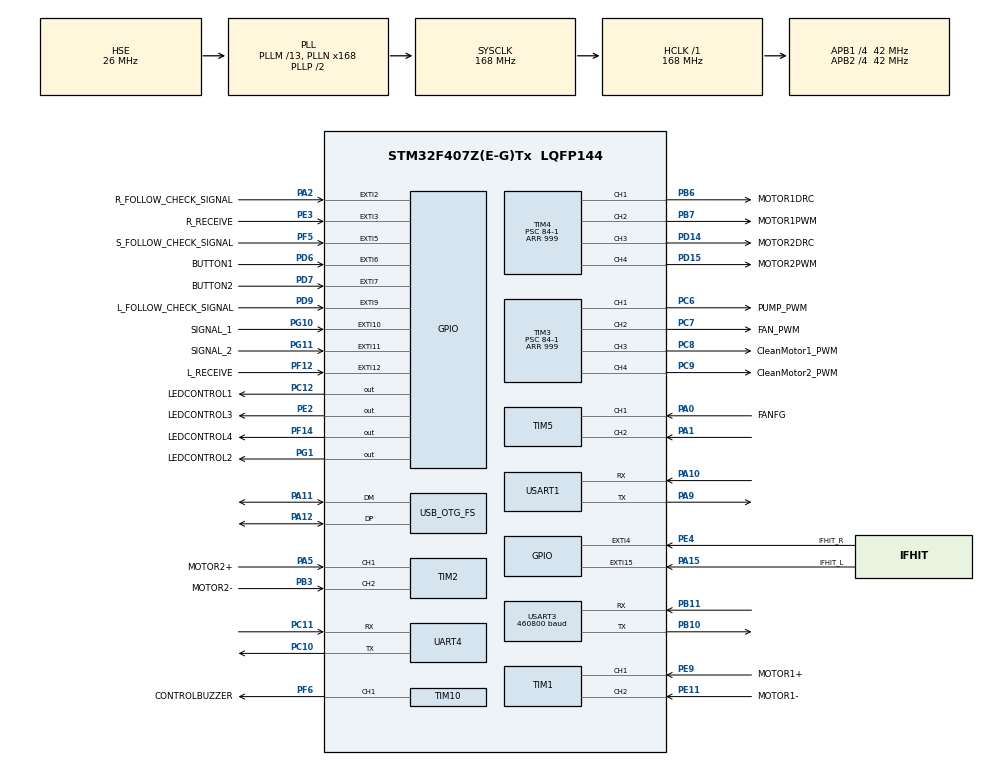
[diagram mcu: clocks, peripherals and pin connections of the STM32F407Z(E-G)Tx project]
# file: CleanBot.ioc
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Dma.Request0=USART3_RX
Dma.USART3_RX.0.Direction=DMA_PERIPH_TO_MEMORY
Dma.USART3_RX.0.FIFOMode=DMA_FIFOMODE_DISABLE
Dma.USART3_RX.0.Instance=DMA1_Stream1
Dma.USART3_RX.0.MemDataAlignment=DMA_MDATAALIGN_BYTE
Dma.USART3_RX.0.MemInc=DMA_MINC_ENABLE
Dma.USART3_RX.0.Mode=DMA_NORMAL
Dma.USART3_RX.0.PeriphDataAlignment=DMA_PDATAALIGN_BYTE
Dma.USART3_RX.0.PeriphInc=DMA_PINC_DISABLE
Dma.USART3_RX.0.Priority=DMA_PRIORITY_HIGH
FREERTOS.Tasks01=defaultTask,24,128,StartDefaultTask,Default,NULL,Dynamic,NULL,NULL
Mcu.Family=STM32F4
Mcu.Name=STM32F407Z(E-G)Tx
Mcu.Package=LQFP144
NVIC.DMA1_Stream1_IRQn=true\:5\:0\:false\:false\:true\:true\:false\:true\:true
NVIC.EXTI15_10_IRQn=true\:5\:0\:false\:false\:true\:true\:true\:true\:true
NVIC.EXTI2_IRQn=true\:5\:0\:false\:false\:true\:true\:true\:true\:true
NVIC.EXTI3_IRQn=true\:5\:0\:false\:false\:true\:true\:true\:true\:true
NVIC.EXTI4_IRQn=true\:5\:0\:false\:false\:true\:true\:true\:true\:true
NVIC.EXTI9_5_IRQn=true\:5\:0\:false\:false\:true\:true\:true\:true\:true
NVIC.OTG_FS_IRQn=true\:5\:0\:false\:false\:true\:true\:true\:true\:true
NVIC.PriorityGroup=NVIC_PRIORITYGROUP_4
NVIC.TIM6_DAC_IRQn=true\:15\:0\:false\:false\:true\:false\:false\:true\:true
NVIC.TIM7_IRQn=true\:5\:0\:false\:false\:true\:true\:true\:true\:true
NVIC.TimeBase=TIM6_DAC_IRQn
NVIC.TimeBaseIP=TIM6
NVIC.USART3_IRQn=true\:5\:0\:false\:false\:true\:true\:true\:true\:true
PA0-WKUP.GPIO_Label=FANFG
PA0-WKUP.Signal=S_TIM5_CH1
PA1.Signal=S_TIM5_CH2
PA10.Mode=Asynchronous
PA10.Signal=USART1_RX
PA11.GPIO_PuPd=GPIO_NOPULL
PA11.Mode=Device_Only
PA11.Signal=USB_OTG_FS_DM
PA12.GPIO_PuPd=GPIO_PULLUP
PA12.Mode=Device_Only
PA12.Signal=USB_OTG_FS_DP
PA13.Mode=Serial_Wire
PA13.Signal=SYS_JTMS-SWDIO
PA14.Mode=Serial_Wire
PA14.Signal=SYS_JTCK-SWCLK
PA15.GPIO_Label=IFHIT_L
PA15.GPIO_ModeDefaultEXTI=GPIO_MODE_IT_RISING_FALLING
PA15.Signal=GPXTI15
PA2.GPIO_Label=R_FOLLOW_CHECK_SIGNAL
PA2.GPIO_ModeDefaultEXTI=GPIO_MODE_IT_RISING_FALLING
PA2.Signal=GPXTI2
PA5.GPIO_Label=MOTOR2+
PA5.Signal=S_TIM2_CH1_ETR
PA9.Mode=Asynchronous
PA9.Signal=USART1_TX
PB10.Mode=Asynchronous
PB10.Signal=USART3_TX
PB11.Mode=Asynchronous
PB11.Signal=USART3_RX
PB3.GPIO_Label=MOTOR2-
PB3.Signal=S_TIM2_CH2
PB6.GPIO_Label=MOTOR1DRC
PB6.Signal=S_TIM4_CH1
PB7.GPIO_Label=MOTOR1PWM
PB7.Signal=S_TIM4_CH2
PC10.Mode=Asynchronous
PC10.Signal=UART4_TX
PC11.Mode=Asynchronous
PC11.Signal=UART4_RX
PC12.GPIO_Label=LEDCONTROL1
PC12.Signal=GPIO_Output
PC14-OSC32_IN.Mode=LSE-External-Oscillator
PC14-OSC32_IN.Signal=RCC_OSC32_IN
PC15-OSC32_OUT.Mode=LSE-External-Oscillator
PC15-OSC32_OUT.Signal=RCC_OSC32_OUT
PC6.GPIO_Label=PUMP_PWM
PC6.Signal=S_TIM3_CH1
PC7.GPIO_Label=FAN_PWM
PC7.Signal=S_TIM3_CH2
PC8.GPIO_Label=CleanMotor1_PWM
PC8.Signal=S_TIM3_CH3
PC9.GPIO_Label=CleanMotor2_PWM
PC9.Signal=S_TIM3_CH4
PD14.GPIO_Label=MOTOR2DRC
PD14.Signal=S_TIM4_CH3
PD15.GPIO_Label=MOTOR2PWM
PD15.Signal=S_TIM4_CH4
PD6.GPIO_Label=BUTTON1
PD6.GPIO_ModeDefaultEXTI=GPIO_MODE_IT_RISING_FALLING
PD6.Signal=GPXTI6
PD7.GPIO_Label=BUTTON2
PD7.GPIO_ModeDefaultEXTI=GPIO_MODE_IT_RISING_FALLING
PD7.Signal=GPXTI7
PD9.GPIO_Label=L_FOLLOW_CHECK_SIGNAL
PD9.GPIO_ModeDefaultEXTI=GPIO_MODE_IT_RISING_FALLING
PD9.Signal=GPXTI9
PE11.GPIO_Label=MOTOR1-
PE11.Signal=S_TIM1_CH2
PE2.GPIO_Label=LEDCONTROL3
PE2.Signal=GPIO_Output
PE3.GPIO_Label=R_RECEIVE
PE3.GPIO_ModeDefaultEXTI=GPIO_MODE_IT_RISING_FALLING
PE3.Signal=GPXTI3
PE4.GPIO_Label=IFHIT_R
PE4.GPIO_ModeDefaultEXTI=GPIO_MODE_IT_RISING_FALLING
PE4.Signal=GPXTI4
PE9.GPIO_Label=MOTOR1+
PE9.Signal=S_TIM1_CH1
PF12.GPIO_Label=L_RECEIVE
PF12.GPIO_ModeDefaultEXTI=GPIO_MODE_IT_RISING_FALLING
PF12.Signal=GPXTI12
PF14.GPIO_Label=LEDCONTROL4
PF14.Signal=GPIO_Output
PF5.GPIO_Label=S_FOLLOW_CHECK_SIGNAL
PF5.GPIO_ModeDefaultEXTI=GPIO_MODE_IT_RISING_FALLING
PF5.Signal=GPXTI5
PF6.GPIO_Label=CONTROLBUZZER
PF6.Signal=S_TIM10_CH1
PG1.GPIO_Label=LEDCONTROL2
PG1.Signal=GPIO_Output
PG10.GPIO_Label=SIGNAL_1
PG10.GPIO_ModeDefaultEXTI=GPIO_MODE_IT_RISING_FALLING
PG10.Signal=GPXTI10
PG11.GPIO_Label=SIGNAL_2
PG11.GPIO_ModeDefaultEXTI=GPIO_MODE_IT_RISING_FALLING
PG11.Signal=GPXTI11
PH0-OSC_IN.Mode=HSE-External-Oscillator
PH0-OSC_IN.Signal=RCC_OSC_IN
PH1-OSC_OUT.Mode=HSE-External-Oscillator
PH1-OSC_OUT.Signal=RCC_OSC_OUT
ProjectManager.HeapSize=0x400
ProjectManager.StackSize=0x400
ProjectManager.TargetToolchain=MDK-ARM V5.32
RCC.48MHZClocksFreq_Value=48000000
RCC.AHBFreq_Value=168000000
RCC.APB1CLKDivider=RCC_HCLK_DIV4
RCC.APB1Freq_Value=42000000
RCC.APB1TimFreq_Value=84000000
RCC.APB2CLKDivider=RCC_HCLK_DIV4
RCC.APB2Freq_Value=42000000
RCC.APB2TimFreq_Value=84000000
RCC.CortexFreq_Value=168000000
RCC.HCLKFreq_Value=168000000
RCC.HSE_VALUE=26000000
RCC.HSI_VALUE=16000000
RCC.PLLM=13
RCC.PLLN=168
RCC.PLLQ=7
RCC.SYSCLKFreq_VALUE=168000000
RCC.SYSCLKSource=RCC_SYSCLKSOURCE_PLLCLK
RCC.VCOOutputFreq_Value=336000000
SH.S_TIM10_CH1.0=TIM10_CH1,PWM Generation1 CH1
SH.S_TIM1_CH1.0=TIM1_CH1,Encoder_Interface
SH.S_TIM1_CH2.0=TIM1_CH2,Encoder_Interface
SH.S_TIM2_CH1_ETR.0=TIM2_CH1,Encoder_Interface
SH.S_TIM2_CH2.0=TIM2_CH2,Encoder_Interface
SH.S_TIM3_CH1.0=TIM3_CH1,PWM Generation1 CH1
SH.S_TIM3_CH2.0=TIM3_CH2,PWM Generation2 CH2
SH.S_TIM3_CH3.0=TIM3_CH3,PWM Generation3 CH3
SH.S_TIM3_CH4.0=TIM3_CH4,PWM Generation4 CH4
SH.S_TIM4_CH1.0=TIM4_CH1,PWM Generation1 CH1
SH.S_TIM4_CH2.0=TIM4_CH2,PWM Generation2 CH2
SH.S_TIM4_CH3.0=TIM4_CH3,PWM Generation3 CH3
SH.S_TIM4_CH4.0=TIM4_CH4,PWM Generation4 CH4
SH.S_TIM5_CH1.0=TIM5_CH1,Encoder_Interface
SH.S_TIM5_CH2.0=TIM5_CH2,Encoder_Interface
TIM1.EncoderMode=TIM_ENCODERMODE_TI12
TIM10.Channel=TIM_CHANNEL_1
TIM10.Period=999
TIM10.Prescaler=84-1
TIM2.EncoderMode=TIM_ENCODERMODE_TI12
TIM3.Channel-PWM\ Generation1\ CH1=TIM_CHANNEL_1
TIM3.Channel-PWM\ Generation2\ CH2=TIM_CHANNEL_2
TIM3.Channel-PWM\ Generation3\ CH3=TIM_CHANNEL_3
TIM3.Channel-PWM\ Generation4\ CH4=TIM_CHANNEL_4
TIM3.Period=999
TIM3.Prescaler=84-1
TIM4.Channel-PWM\ Generation1\ CH1=TIM_CHANNEL_1
TIM4.Channel-PWM\ Generation2\ CH2=TIM_CHANNEL_2
TIM4.Channel-PWM\ Generation3\ CH3=TIM_CHANNEL_3
TIM4.Channel-PWM\ Generation4\ CH4=TIM_CHANNEL_4
TIM4.Period=999
TIM4.Prescaler=84-1
TIM7.AutoReloadPreload=TIM_AUTORELOAD_PRELOAD_ENABLE
TIM7.Period=999
TIM7.Prescaler=84-1
UART4.VirtualMode=Asynchronous
USART1.VirtualMode=VM_ASYNC
USART3.BaudRate=460800
USART3.VirtualMode=VM_ASYNC
USART3.WordLength=WORDLENGTH_8B
USB_DEVICE.CLASS_NAME_FS=CDC
USB_DEVICE.VirtualMode-CDC_FS=Cdc
USB_DEVICE.VirtualModeFS=Cdc_FS
USB_OTG_FS.VirtualMode=Device_Only
VP_CRC_VS_CRC.Mode=CRC_Activate
VP_FREERTOS_VS_CMSIS_V2.Mode=CMSIS_V2
VP_SYS_VS_tim6.Mode=TIM6
VP_TIM10_VS_ClockSourceINT.Mode=Enable_Timer
VP_TIM3_VS_ClockSourceINT.Mode=Internal
VP_TIM4_VS_ClockSourceINT.Mode=Internal
VP_TIM7_VS_ClockSourceINT.Mode=Enable_Timer
VP_USB_DEVICE_VS_USB_DEVICE_CDC_FS.Mode=CDC_FS
board=custom

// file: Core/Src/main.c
/* USER CODE BEGIN Header */
/**
  ******************************************************************************
  * @file           : main.c
  * @brief          : Main program body
  ******************************************************************************
  * @attention
  *
  * Copyright (c) 2025 STMicroelectronics.
  * All rights reserved.
  *
  * This software is licensed under terms that can be found in the LICENSE file
  * in the root directory of this software component.
  * If no LICENSE file comes with this software, it is provided AS-IS.
  *
  ******************************************************************************
  */
/* USER CODE END Header */
#include "main.h"
#include "cmsis_os.h"
#include "crc.h"
#include "dma.h"
#include "tim.h"
#include "usart.h"
#include "usb_device.h"
#include "gpio.h"

/* USER CODE BEGIN Includes */
#include "CleanBotApp.h"
#include "encoder.h"

/* USER CODE END Includes */

void SystemClock_Config(void);
void MX_FREERTOS_Init(void);

int main(void)
{

  /* MCU Configuration--------------------------------------------------------*/

  /* Reset of all peripherals, Initializes the Flash interface and the Systick. */
  HAL_Init();

  /* Configure the system clock */
  SystemClock_Config();

  /* Initialize all configured peripherals */
  MX_GPIO_Init();
  MX_DMA_Init();
  MX_TIM1_Init();
  MX_TIM2_Init();
  MX_TIM3_Init();
  MX_TIM4_Init();
  MX_TIM5_Init();
  MX_TIM10_Init();
  MX_UART4_Init();
  MX_USART1_UART_Init();
  MX_USART3_UART_Init();
  MX_TIM7_Init();
  MX_CRC_Init();
  /* USER CODE BEGIN 2 */
  /* 启动TIM7，1kHz中断用于编码器速度采样 */
  HAL_TIM_Base_Start_IT(&htim7);

  /* USER CODE END 2 */

  /* Init scheduler */
  osKernelInitialize();

  /* Call init function for freertos objects (in cmsis_os2.c) */
  MX_FREERTOS_Init();

  /* Start scheduler */
  osKernelStart();

  /* We should never get here as control is now taken by the scheduler */

  /* Infinite loop */
  while (1)
  {

  }
}

void SystemClock_Config(void)
{
  RCC_OscInitTypeDef RCC_OscInitStruct = {0};
  RCC_ClkInitTypeDef RCC_ClkInitStruct = {0};

  /** Configure the main internal regulator output voltage
  */
  __HAL_RCC_PWR_CLK_ENABLE();
  __HAL_PWR_VOLTAGESCALING_CONFIG(PWR_REGULATOR_VOLTAGE_SCALE1);

  /** Initializes the RCC Oscillators according to the specified parameters
  * in the RCC_OscInitTypeDef structure.
  */
  RCC_OscInitStruct.OscillatorType = RCC_OSCILLATORTYPE_HSE;
  RCC_OscInitStruct.HSEState = RCC_HSE_ON;
  RCC_OscInitStruct.PLL.PLLState = RCC_PLL_ON;
  RCC_OscInitStruct.PLL.PLLSource = RCC_PLLSOURCE_HSE;
  RCC_OscInitStruct.PLL.PLLM = 13;
  RCC_OscInitStruct.PLL.PLLN = 168;
  RCC_OscInitStruct.PLL.PLLP = RCC_PLLP_DIV2;
  RCC_OscInitStruct.PLL.PLLQ = 7;
  if (HAL_RCC_OscConfig(&RCC_OscInitStruct) != HAL_OK)
  {
    Error_Handler();
  }

  /** Initializes the CPU, AHB and APB buses clocks
  */
  RCC_ClkInitStruct.ClockType = RCC_CLOCKTYPE_HCLK|RCC_CLOCKTYPE_SYSCLK
                              |RCC_CLOCKTYPE_PCLK1|RCC_CLOCKTYPE_PCLK2;
  RCC_ClkInitStruct.SYSCLKSource = RCC_SYSCLKSOURCE_PLLCLK;
  RCC_ClkInitStruct.AHBCLKDivider = RCC_SYSCLK_DIV1;
  RCC_ClkInitStruct.APB1CLKDivider = RCC_HCLK_DIV4;
  RCC_ClkInitStruct.APB2CLKDivider = RCC_HCLK_DIV4;

  if (HAL_RCC_ClockConfig(&RCC_ClkInitStruct, FLASH_LATENCY_5) != HAL_OK)
  {
    Error_Handler();
  }
}

void HAL_TIM_PeriodElapsedCallback(TIM_HandleTypeDef *htim)
{
  if (htim->Instance == TIM6)
  {
    HAL_IncTick();
  }
  /* USER CODE BEGIN Callback 1 */
  else if (htim->Instance == TIM7)
  {
    /* 1kHz编码器采样 */
    extern CleanBotApp_t *g_pCleanBotApp;
    if (g_pCleanBotApp != NULL) {
      Encoder_On1kHzTick(&g_pCleanBotApp->encoderWheelLeft);
      Encoder_On1kHzTick(&g_pCleanBotApp->encoderWheelRight);
      /* 如需风机编码器同步采样，可取消注释 */
      Encoder_On1kHzTick(&g_pCleanBotApp->encoderFan);
    }
  }

  /* USER CODE END Callback 1 */
}

void Error_Handler(void)
{
  __disable_irq();
  while (1)
  {
  }
}

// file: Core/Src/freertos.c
/* USER CODE BEGIN Header */
/**
  ******************************************************************************
  * File Name          : freertos.c
  * Description        : Code for freertos applications
  ******************************************************************************
  * @attention
  *
  * Copyright (c) 2025 STMicroelectronics.
  * All rights reserved.
  *
  * This software is licensed under terms that can be found in the LICENSE file
  * in the root directory of this software component.
  * If no LICENSE file comes with this software, it is provided AS-IS.
  *
  ******************************************************************************
  */
/* USER CODE END Header */

#include "FreeRTOS.h"
#include "task.h"
#include "main.h"
#include "cmsis_os.h"

/* USER CODE BEGIN Includes */
#include "CleanBotApp.h"
#include "sensor_manager.h"
#include "sensor_task.h"
#include "motor_ctrl_task.h"
#include "usb_comm_task.h"
#include "imu_task.h"
/* USER CODE END Includes */

/* Definitions for defaultTask */
osThreadId_t defaultTaskHandle;
const osThreadAttr_t defaultTask_attributes = {
  .name = "defaultTask",
  .stack_size = 128 * 4,
  .priority = (osPriority_t) osPriorityNormal,
};

/* USER CODE BEGIN FunctionPrototypes */
/* Definitions for SensorTask */
osThreadId_t sensorTaskHandle;
const osThreadAttr_t sensorTask_attributes = {
  .name = "sensorTask",
  .stack_size = TASK_STACK_SIZE_SENSOR * 4,
  .priority = (osPriority_t) TASK_PRIORITY_SENSOR,
};

/* Definitions for MotorCtrlTask */
osThreadId_t motorCtrlTaskHandle;
const osThreadAttr_t motorCtrlTask_attributes = {
  .name = "motorCtrlTask",
  .stack_size = TASK_STACK_SIZE_MOTOR_CTRL * 4,
  .priority = (osPriority_t) TASK_PRIORITY_MOTOR_CTRL,
};

/* Definitions for USBCommTask */
osThreadId_t usbCommTaskHandle;
const osThreadAttr_t usbCommTask_attributes = {
  .name = "usbCommTask",
  .stack_size = TASK_STACK_SIZE_USB_COMM * 4,
  .priority = (osPriority_t) TASK_PRIORITY_USB_COMM,
};

/* Definitions for IMUTask */
osThreadId_t imuTaskHandle;
const osThreadAttr_t imuTask_attributes = {
  .name = "imuTask",
  .stack_size = 512 * 4,
  .priority = (osPriority_t) osPriorityAboveNormal,
};
extern void SensorTask_Run(void *argument);
extern void MotorCtrlTask_Run(void *argument);
extern void USBCommTask_Run(void *argument);
extern void IMUTask_Run(void *argument);

extern void MX_USB_DEVICE_Init(void);
/* USER CODE END FunctionPrototypes */

void StartDefaultTask(void *argument);

extern void MX_USB_DEVICE_Init(void);
void MX_FREERTOS_Init(void); /* (MISRA C 2004 rule 8.1) */

void MX_FREERTOS_Init(void) {

  /* Create the thread(s) */
  /* creation of defaultTask */
  defaultTaskHandle = osThreadNew(StartDefaultTask, NULL, &defaultTask_attributes);

  /* USER CODE BEGIN RTOS_THREADS */
  /* 初始化应用层 */
  CleanBotApp_t *app = CleanBotApp_GetInstance();
  CleanBotApp_Init(app);

  /* 初始化传感器管理器 */
  SensorManager_Init(SensorManager_GetInstance());

  /* 创建传感器任务 */
  sensorTaskHandle = osThreadNew(SensorTask_Run, NULL, &sensorTask_attributes);

  /* 创建电机控制任务 */
  motorCtrlTaskHandle = osThreadNew(MotorCtrlTask_Run, NULL, &motorCtrlTask_attributes);

  /* 创建USB通信任务 */
  usbCommTaskHandle = osThreadNew(USBCommTask_Run, NULL, &usbCommTask_attributes);

  /* 创建IMU任务（200Hz上报） */
  imuTaskHandle = osThreadNew(IMUTask_Run, NULL, &imuTask_attributes);

  /* 启动应用 */
  CleanBotApp_Start(app);
  /* USER CODE END RTOS_THREADS */

}

void StartDefaultTask(void *argument)
{
  /* init code for USB_DEVICE */
  MX_USB_DEVICE_Init();
  /* USER CODE BEGIN StartDefaultTask */
  /* 主任务主要用于初始化，实际功能在各专门任务中实现 */
  /* Infinite loop */
  for(;;)
  {
    osDelay(1000);
  }
  /* USER CODE END StartDefaultTask */
}
